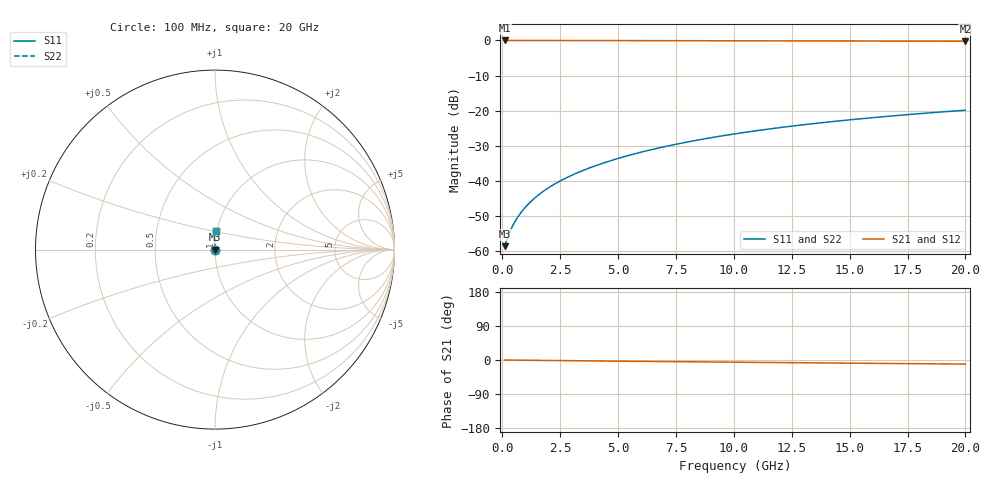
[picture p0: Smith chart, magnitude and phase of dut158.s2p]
! Touchstone file exported from HFSS 2024.1.0
!  File:  C:/UserFiles/LocalFiles/RDL_TSV_Batchsim/temp_RDL_top_158_1778685377.aedt
!  Generated:  11:18:25 PM May 13, 2026
!  Design:  RDL_top
!  Project:  temp_RDL_top_158_1778685377
!  Setup:  Setup1
!  Solution:  Sweep
! Variables:
!  dtsv = 10.80580581um
!  hbump = 3um
!  htsv = 98.76um
!  ldown = 100um
!  lrdl = 143.1um
!  p = 40
!  p1 = 42.99um
!  rhole = 1um
!  t = 450um
!  tdown = 3.915915916um
!  trdl = 2.61um
!  wdown = 15.38538539um
!  wrdl = 26.76um
# GHz S MA R 50.000000
! Terminal data exported
! Port[1] = Box2_T1
! Port[2] = Box2_T2
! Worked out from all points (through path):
!   200 points, 100 MHz to 20 GHz, reference 50 ohm
!   highest |S21| = -0.01 dB at 100 MHz (marker M1); lowest = -0.2 dB at 20 GHz (marker M2)
!   group delay of S21, straight-line fit = 1.48 ps
!   lowest |S11| = -58.6 dB at 100 MHz (marker M3), VSWR 1.00, Z = 50.1 + j0.047 ohm
!   |S11| at or under -10 dB: start of sweep to end of sweep
!   |S22| runs from -58.6 to -19.9 dB; largest |S21 - S12| = 3.1e-15
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0.1  0.001177 23.5  0.9989 -0.1  0.9989 -0.1  0.001177 23.5
! Gamma 0 0 0 0
! Port Impedance 50 0 50 0
0.3  0.00178 48.9  0.9988 -0.2  0.9988 -0.2  0.00178 48.9
0.4  0.002126 55.1  0.9987 -0.3  0.9987 -0.3  0.002126 55.1
0.6  0.002819 63.2  0.9986 -0.4  0.9986 -0.4  0.002819 63.2
0.7  0.003167 66.0  0.9986 -0.5  0.9986 -0.5  0.003167 66.0
0.9  0.003872 70.6  0.9984 -0.6  0.9984 -0.6  0.003872 70.6
1.2  0.004957 75.4  0.9983 -0.8  0.9983 -0.8  0.004957 75.4
1.4  0.005697 77.8  0.9982 -0.9  0.9982 -0.9  0.005697 77.8
1.7  0.006832 80.6  0.998 -1.1  0.998 -1.1  0.006832 80.6
2.2  0.008779 83.9  0.9976 -1.4  0.9976 -1.4  0.008779 83.9
2.8  0.0112 86.7  0.9971 -1.7  0.9971 -1.7  0.0112 86.7
3.5  0.01415 88.9  0.9963 -2.2  0.9963 -2.2  0.01415 88.9
4.2  0.01722 90.5  0.9955 -2.6  0.9955 -2.6  0.01722 90.5
5  0.02089 91.8  0.9944 -3.1  0.9944 -3.1  0.02089 91.8
5.9  0.02519 92.6  0.9931 -3.6  0.9931 -3.6  0.02519 92.6
6.8  0.02967 93.1  0.9917 -4.1  0.9917 -4.1  0.02967 93.1
8.4  0.03795 93.2  0.9893 -4.9  0.9893 -4.9  0.03795 93.2
10.1  0.04706 92.7  0.9868 -5.8  0.9868 -5.8  0.04706 92.7
11.7  0.0558 91.8  0.9846 -6.7  0.9846 -6.7  0.0558 91.8
13.4  0.06518 90.8  0.9824 -7.5  0.9824 -7.5  0.06518 90.8
16.7  0.0834 88.5  0.9784 -9.2  0.9784 -9.2  0.0834 88.5
20  0.1015 86.1  0.9747 -10.8  0.9747 -10.8  0.1015 86.1
